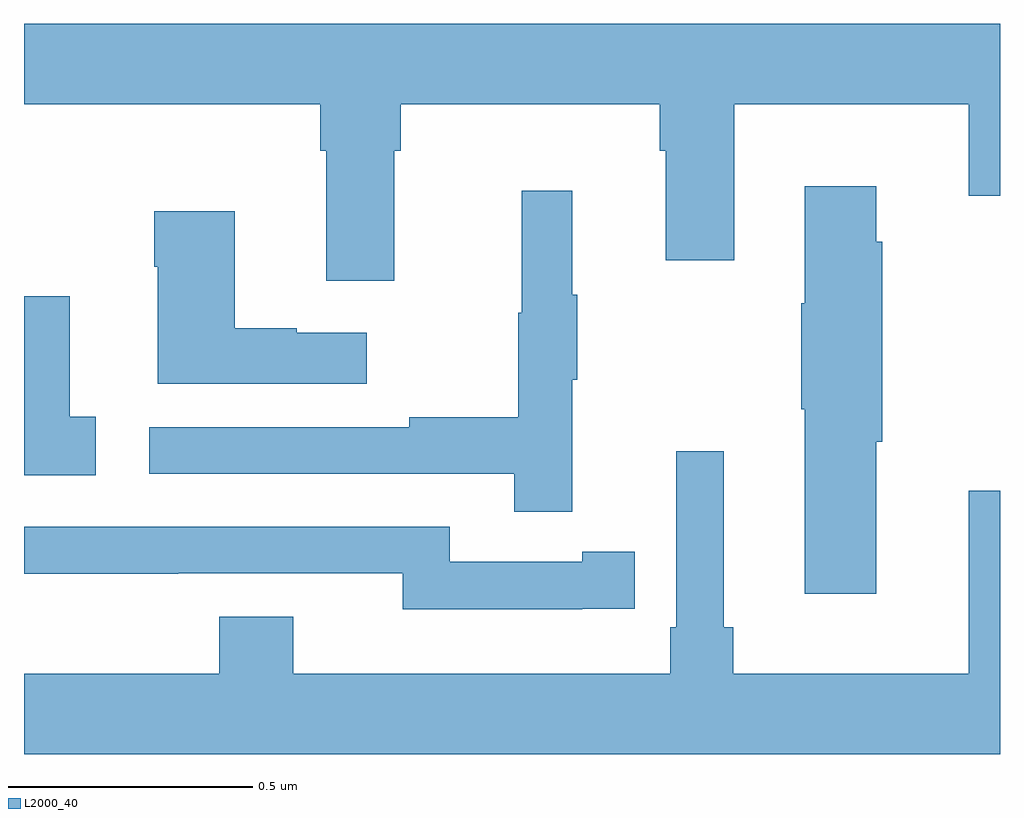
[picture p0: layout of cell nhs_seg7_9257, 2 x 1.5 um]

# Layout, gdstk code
import gdstk
lib = gdstk.Library(unit=1e-6, precision=1e-09)
def P(c, l, *ps):  # polygons
    for p in ps: c.add(gdstk.Polygon(p, *l))
L2000_40 = (2000, 40)

nhs_seg7_9257 = lib.new_cell('nhs_seg7_9257')
P(nhs_seg7_9257, L2000_40, [(235.759,1040.48),(235.772,1040.48),(235.772,1040.576),(236.303,1040.576),(236.303,1040.48),(236.315,1040.48),(236.315,1040.256),(236.455,1040.256),(236.455,1040.576),(236.936,1040.576),(236.936,1040.388),(237,1040.388),(237,1040.74),(235,1040.74),(235,1040.576),(235.607,1040.576),(235.607,1040.48),(235.619,1040.48),(235.619,1040.214),(235.759,1040.214)],
  [(236.746,1039.884),(236.759,1039.884),(236.759,1040.294),(236.746,1040.294),(236.746,1040.407),(236.6,1040.407),(236.6,1040.168),(236.593,1040.168),(236.593,1039.951),(236.6,1039.951),(236.6,1039.572),(236.746,1039.572)],
  [(236.123,1040.011),(236.134,1040.011),(236.134,1040.185),(236.123,1040.185),(236.123,1040.398),(236.02,1040.398),(236.02,1040.148),(236.013,1040.148),(236.013,1039.934),(235.789,1039.934),(235.789,1039.914),(235.257,1039.914),(235.257,1039.818),(236.005,1039.818),(236.005,1039.74),(236.123,1039.74)],
  [(235.702,1040.107),(235.559,1040.107),(235.559,1040.117),(235.432,1040.117),(235.432,1040.356),(235.267,1040.356),(235.267,1040.243),(235.274,1040.243),(235.274,1040.003),(235.702,1040.003)],
  [(235.147,1039.935),(235.094,1039.935),(235.094,1040.182),(235,1040.182),(235,1039.815),(235.147,1039.815)],
  [(237,1039.783),(236.936,1039.783),(236.936,1039.408),(236.453,1039.408),(236.453,1039.504),(236.434,1039.504),(236.434,1039.864),(236.337,1039.864),(236.337,1039.504),(236.324,1039.504),(236.324,1039.408),(235.552,1039.408),(235.552,1039.525),(235.4,1039.525),(235.4,1039.408),(235,1039.408),(235,1039.244),(237,1039.244)],
  [(236.144,1039.542),(236.252,1039.542),(236.252,1039.658),(236.144,1039.658),(236.144,1039.638),(235.872,1039.638),(235.872,1039.71),(235,1039.71),(235,1039.613),(235.316,1039.613),(235.316,1039.614),(235.776,1039.614),(235.776,1039.541),(236.144,1039.541)])

lib.write_gds('nhs_seg7_9257.gds')
